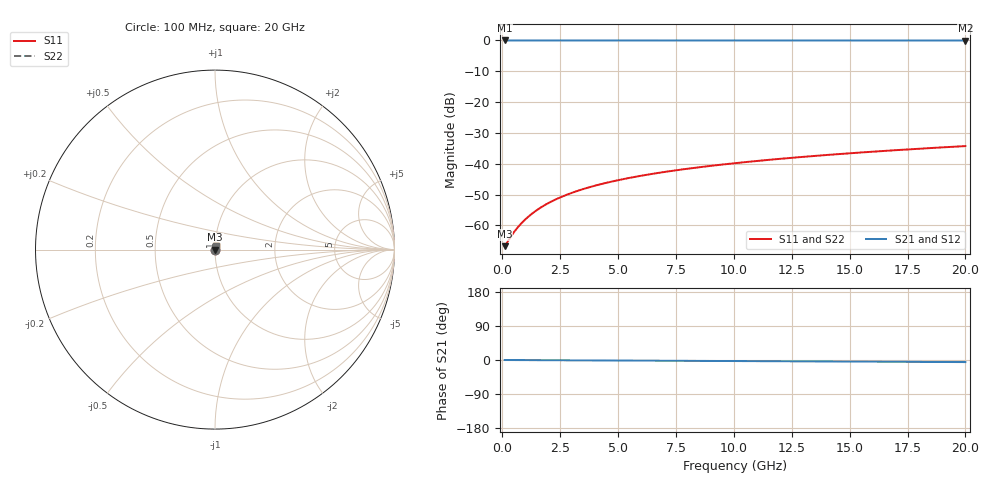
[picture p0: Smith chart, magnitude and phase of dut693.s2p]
! Touchstone file exported from HFSS 2026.1.0
!  File:  C:/ffzhzh/LocalFiles/Ansys_Project_Files/temp_train_TSV_693_1783027675_46388.aedt
!  Generated:  05:30:09 AM Jul  3, 2026
!  Design:  TSV
!  Project:  temp_train_TSV_693_1783027675_46388
! Variables:
!  h_bsmrdl = 2um
!  h_ox = 20um
!  h_rdl = 5um
!  h_sub = 55.81um
!  h_tmrdl = 5um
!  h_tsv = 55.81um
!  h_via = 3um
!  l_bsmrdl = 300um
!  l_sub = 407.94um
!  l_tmrdl = 200um
!  m_sub = 200um
!  pitch = 20.93um
!  r_tsv = 3.97um
!  s_tmrdl = 10um
!  w_bsmrdl = 18um
!  w_sub = 500um
!  w_tmrdl = 12um
!  x_tsv_center1 = 206um
!  x_tsv_center2 = 524um
!  x_tsv_center3 = 736um
!  x_tsv_center4 = 1054um
!  x_tsv_center5 = 1266um
!  x_tsv_center6 = 1584um
# GHz S MA R 50.000000
! Terminal data exported
! Port[1] = TSV1_1_T1
! Port[2] = TSV1_1_T2
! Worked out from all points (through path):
!   200 points, 100 MHz to 20 GHz, reference 50 ohm
!   highest |S21| = 0.00 dB at 100 MHz (marker M1); lowest = 0.0 dB at 20 GHz (marker M2)
!   lowest |S11| = -66.7 dB at 100 MHz (marker M3), VSWR 1.00, Z = 50 + j0.0133 ohm
!   |S11| at or under -10 dB: start of sweep to end of sweep
!   |S22| runs from -66.7 to -34.3 dB; largest |S21 - S12| = 3.1e-15
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0.1  0.0004611 16.7  0.9996 -0.0  0.9996 -0.0  0.0004611 16.7
! Gamma 0 0 0 0
! Port Impedance 50 0 50 0
0.4  0.0006859 45.1  0.9995 -0.1  0.9995 -0.1  0.0006859 45.1
0.5  0.0007743 50.3  0.9995 -0.1  0.9995 -0.1  0.0007743 50.3
0.7  0.0009612 57.8  0.9995 -0.2  0.9995 -0.2  0.0009612 57.8
0.8  0.001059 60.6  0.9995 -0.2  0.9995 -0.2  0.001059 60.6
1  0.00126 64.9  0.9995 -0.3  0.9995 -0.3  0.00126 64.9
1.2  0.001466 68.0  0.9995 -0.3  0.9995 -0.3  0.001466 68.0
1.4  0.001676 70.3  0.9994 -0.4  0.9994 -0.4  0.001676 70.3
1.8  0.002101 73.3  0.9994 -0.5  0.9994 -0.5  0.002101 73.3
2.3  0.002634 75.5  0.9994 -0.7  0.9994 -0.7  0.002634 75.5
2.9  0.00327 77.0  0.9993 -0.8  0.9993 -0.8  0.00327 77.0
3.5  0.003896 77.8  0.9992 -1.0  0.9992 -1.0  0.003896 77.8
4.2  0.004614 78.3  0.9991 -1.2  0.9991 -1.2  0.004614 78.3
5  0.005418 78.7  0.9991 -1.4  0.9991 -1.4  0.005418 78.7
5.9  0.006303 78.9  0.9989 -1.7  0.9989 -1.7  0.006303 78.9
6.8  0.007172 79.0  0.9988 -1.9  0.9988 -1.9  0.007172 79.0
8.3  0.008595 79.2  0.9987 -2.3  0.9987 -2.3  0.008595 79.2
10.1  0.01028 79.3  0.9985 -2.8  0.9985 -2.8  0.01028 79.3
11.7  0.01176 79.3  0.9984 -3.3  0.9984 -3.3  0.01176 79.3
13.4  0.01333 79.2  0.9983 -3.7  0.9983 -3.7  0.01333 79.2
16.7  0.01635 79.0  0.998 -4.6  0.998 -4.6  0.01635 79.0
20  0.01935 78.5  0.9978 -5.5  0.9978 -5.5  0.01935 78.5
